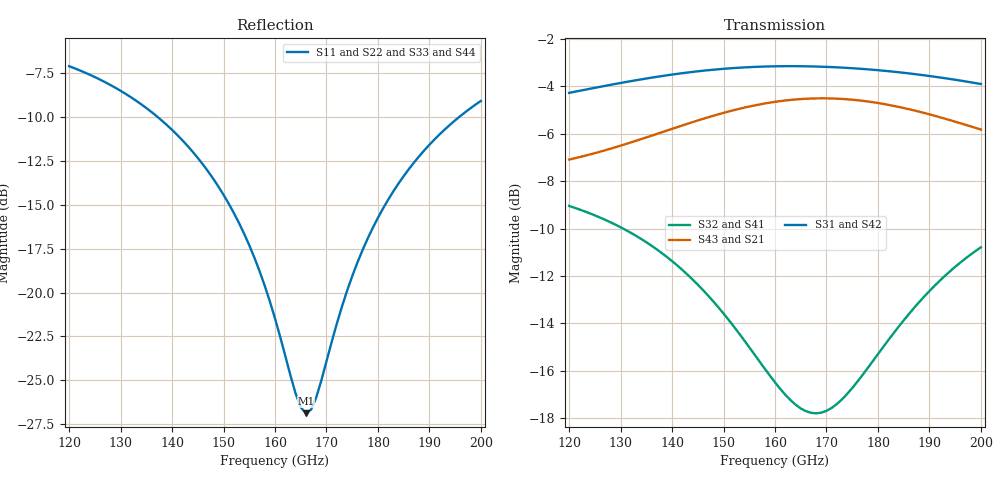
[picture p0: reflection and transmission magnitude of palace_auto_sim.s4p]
#  GHZ S DB R 50
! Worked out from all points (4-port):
!   81 points, 120 GHz to 200 GHz, reference 50 ohm
!   strongest paths, dB at 120 GHz, 140 GHz, 160 GHz, 180 GHz, 200 GHz:
!     S31: -4.3, -3.5, -3.2, -3.3, -3.9
!     S42: -4.3, -3.5, -3.2, -3.3, -3.9
!     S43: -7.1, -5.8, -4.7, -4.7, -5.8
!     S21: -7.1, -5.8, -4.7, -4.7, -5.8
!     S32: -9.0, -11.4, -16.5, -15.3, -10.8
!     S41: -9.1, -11.4, -16.5, -15.3, -10.8
!   lowest |S11| = -26.9 dB at 166 GHz (marker M1), VSWR 1.09, Z = 54.7 - j0.447 ohm
!   |S11| at or under -10 dB: 137.2 GHz to 195.7 GHz (58.48 GHz wide, 35.1 % of centre)
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120  -7.09 126.7  -7.09 -61.5  -4.28 -122.7  -9.05 -95.1
     -7.09 -61.5  -7.09 126.8  -9.05 -95.1  -4.28 -122.7
     -4.28 -122.7  -9.05 -95.1  -7.09 126.8  -7.09 -61.5
     -9.05 -95.1  -4.28 -122.7  -7.09 -61.5  -7.09 126.7
136  -9.70 108.5  -6.09 -69.1  -3.64 -143.2  -10.73 -109.8
     -6.09 -69.1  -9.71 108.6  -10.72 -109.7  -3.64 -143.2
     -3.64 -143.2  -10.72 -109.7  -9.71 108.6  -6.09 -69.1
     -10.73 -109.8  -3.64 -143.2  -6.09 -69.1  -9.71 108.5
148  -13.51 90.8  -5.25 -78.2  -3.30 -159.9  -13.09 -117.8
     -5.25 -78.2  -13.53 90.9  -13.07 -117.8  -3.30 -159.9
     -3.30 -159.9  -13.07 -117.8  -13.53 90.9  -5.25 -78.2
     -13.09 -117.8  -3.30 -159.9  -5.25 -78.2  -13.52 90.8
156  -18.01 73.0  -4.81 -85.9  -3.18 -171.3  -15.33 -117.1
     -4.81 -85.9  -18.05 73.1  -15.31 -117.2  -3.18 -171.3
     -3.18 -171.3  -15.31 -117.2  -18.05 73.2  -4.81 -85.9
     -15.33 -117.1  -3.18 -171.3  -4.81 -85.9  -18.03 73.1
166  -26.89 -5.2  -4.53 -96.8  -3.16 174.3  -17.71 -100.3
     -4.53 -96.8  -26.93 -5.9  -17.70 -100.5  -3.16 174.3
     -3.16 174.3  -17.70 -100.5  -26.96 -5.7  -4.53 -96.8
     -17.71 -100.3  -3.16 174.3  -4.53 -96.8  -26.93 -5.4
181  -15.20 -98.2  -4.74 -113.2  -3.34 152.9  -14.99 -73.0
     -4.74 -113.2  -15.17 -98.3  -15.00 -73.1  -3.34 152.9
     -3.34 152.9  -15.00 -73.1  -15.18 -98.3  -4.74 -113.2
     -14.99 -73.0  -3.34 152.9  -4.74 -113.2  -15.19 -98.3
200  -9.07 -125.5  -5.82 -130.0  -3.90 127.1  -10.78 -80.9
     -5.82 -130.0  -9.06 -125.5  -10.79 -81.0  -3.91 127.1
     -3.90 127.1  -10.79 -81.0  -9.06 -125.5  -5.83 -130.0
     -10.78 -80.9  -3.91 127.1  -5.83 -130.0  -9.07 -125.6
